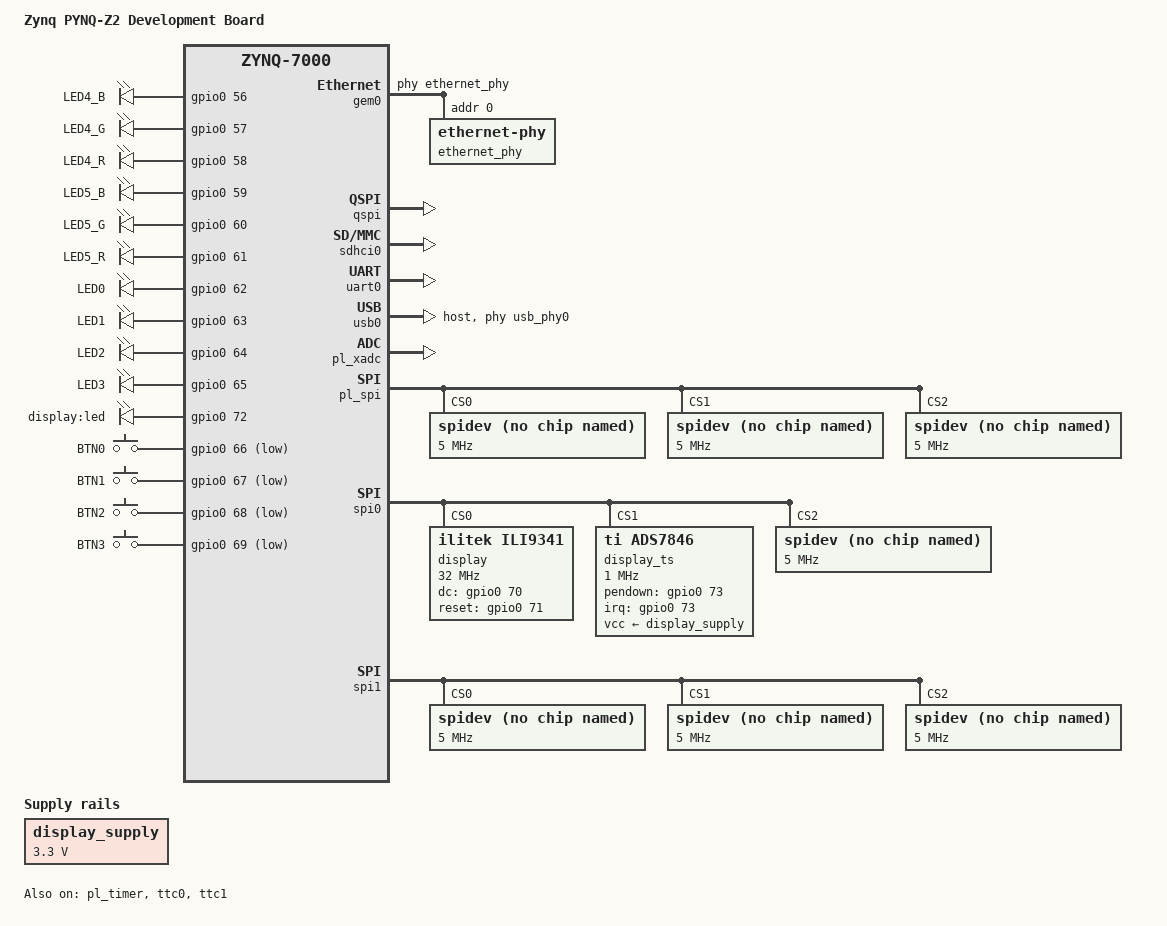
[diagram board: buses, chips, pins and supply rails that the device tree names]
/dts-v1/;

#include "system-top.dts"
#include <dt-bindings/input/input.h>
#include <dt-bindings/gpio/gpio.h>

/ {
	model = "Zynq PYNQ-Z2 Development Board";
	compatible = "digilent,zynq-artyz", "xlnx,zynq-7000";

	chosen {
		bootargs = "earlycon root=/dev/mmcblk0p2 rw rootfstype=ext4 rootwait";
		stdout-path = "serial0:115200n8";
	};

        usb_phy0: phy0 {
                compatible = "ulpi-phy";
                #phy-cells = <0>;
                reg = <0xe0002000 0x1000>;
                view-port = <0x170>;
                drv-vbus;
        };

	gpio-leds {
		compatible = "gpio-leds";
		led4_b {
			label = "LED4_B";
			gpios = <&gpio0 56 GPIO_ACTIVE_HIGH>;
			default-state = "off";
		};
		led4_g {
			label = "LED4_G";
			gpios = <&gpio0 57 GPIO_ACTIVE_HIGH>;
			default-state = "off";
		};
		led4_r {
			label = "LED4_R";
			gpios = <&gpio0 58 GPIO_ACTIVE_HIGH>;
			default-state = "off";
		};
		led5_b {
			label = "LED5_B";
			gpios = <&gpio0 59 GPIO_ACTIVE_HIGH>;
			default-state = "off";
		};
		led5_g {
			label = "LED5_G";
			gpios = <&gpio0 60 GPIO_ACTIVE_HIGH>;
			default-state = "off";
		};
		led5_r {
			label = "LED5_R";
			gpios = <&gpio0 61 GPIO_ACTIVE_HIGH>;
			default-state = "off";
		};
		led0 {
			label = "LED0";
			gpios = <&gpio0 62 GPIO_ACTIVE_HIGH>;
			linux,default-trigger = "heartbeat";
		};
		led1 {
			label = "LED1";
			gpios = <&gpio0 63 GPIO_ACTIVE_HIGH>;
			linux,default-trigger = "mmc0";
		};
		led2 {
			label = "LED2";
			gpios = <&gpio0 64 GPIO_ACTIVE_HIGH>;
			default-state = "off";
		};
		led3 {
			label = "LED3";
			gpios = <&gpio0 65 GPIO_ACTIVE_HIGH>;
			default-state = "off";
		};
		display_led { // LED BACKLIGHT PIN
			label = "display:led";
			gpios = <&gpio0 72 GPIO_ACTIVE_HIGH>;
			default-state = "on";
		};
	};

	gpio-keys {
		compatible = "gpio-keys";
		btn0 {
			label = "BTN0";
			linux,code = <BTN_TRIGGER_HAPPY1>; // Key Code 2c0
			gpios = <&gpio0 66 GPIO_ACTIVE_LOW>;
		};
		btn1 {
			label = "BTN1";
			linux,code = <BTN_TRIGGER_HAPPY2>; // Key Code 2c1
			gpios = <&gpio0 67 GPIO_ACTIVE_LOW>;
		};
		btn2 {
			label = "BTN2";
			linux,code = <BTN_TRIGGER_HAPPY3>; // Key Code 2c2
			gpios = <&gpio0 68 GPIO_ACTIVE_LOW>;
		};
		btn3 {
			label = "BTN3";
			linux,code = <BTN_TRIGGER_HAPPY4>; // Key Code 2c3
			gpios = <&gpio0 69 GPIO_ACTIVE_LOW>;
		};
	};

	display_supply: fixed_3v3@0 {
		compatible = "regulator-fixed";
		regulator-name = "fixed-supply";
		regulator-min-microvolt = <3300000>;
		regulator-max-microvolt = <3300000>;
	};
};

&gem0 {
	u-boot,dm-pre-reloc;
	status = "okay";

	phy-handle = <&ethernet_phy>;

	ethernet_phy: ethernet-phy@0 {
		reg = <0>;
		device_type = "ethernet-phy";
	};
};

&qspi {
	u-boot,dm-pre-reloc;
	status = "okay";
};

&sdhci0 {
	u-boot,dm-pre-reloc;
	status = "okay";
};

&uart0 {
	u-boot,dm-pre-reloc;
	status = "okay";
};

&usb0 {
	status = "okay";
	dr_mode = "host";
        usb-phy = <&usb_phy0>;
};

/* PYNQ-Z2 GPIO Schematic Symbols (see also fpga/sdk/ps7_init.html)
 * Where 'gpioX_NC', means GPIO X is Not Connected.
 */
&gpio0 {
	gpio-line-names =
		"gpio0_NC", "SPI_CS", "SPI_DQ0", "SPI_DQ1",
		"SPI_DQ2", "SPI_DQ3", "SPI_SCK", "VCFG0",
		"SPI_SCLK_FB", "ETH_RST_B", "ETH_INT_B", "OTG_OC",
		"AR_RST", "gpio13_NC", "UART_TXD_IN(rx)", "UART_RXD_OUT(tx)",
		"ETH_TXCK", "ETH_TXD0", "ETH_TXD1", "ETH_TXD2",
		"ETH_TXD3", "ETH_TXCTL", "ETH_RXCK", "ETH_RXD0",
		"ETH_RXD1", "ETH_RXD2", "ETH_RXD3", "ETH_RXCTL",
		"OTG_DATA4", "OTG_DIR", "OTG_STP", "OTG_NXT",
		"OTG_DATA0", "OTG_DATA1", "OTG_DATA2", "OTG_DATA3",
		"OTG_CLK", "OTG_DATA5", "OTG_DATA6", "OTG_DATA7",
		"SD_CCLK", "SD_CMD", "SD_D0", "SD_D1",
		"SD_D2", "SD_D3", "OTG_RESETN", "SD_CD",
		"gpio48_NC", "gpio49_NC", "HDMI_TX_SCL", "HDMI_TX_SDA",
		"ETH_MDC", "ETH_MDIO", "SW0", "SW1",
		"LED4_B", "LED4_G", "LED4_R", "LED5_B",
		"LED5_G", "LED5_R", "LD0", "LD1",
		"LD2", "LD3", "BTN0", "BTN1",
		"BTN2", "BTN3", "PMODA_7", "PMODA_8",
		"PMODB_7", "PMODB_8", "AR6", "AR7",
		"AR8", "AR9", "AR10", "AR11",
		"AR12", "AR13", "A", "RPIO_14_R",
		"RPIO_15_R", "RPIO_18_R", "RPIO_23_R", "RPIO_24_R",
		"RPIO_12_R", "RPIO_16_R", "gpio90_NC", "gpio91_NC",
		"gpio92_NC", "gpio93_NC", "gpio94_NC", "gpio95_NC",
		"gpio96_NC", "gpio97_NC", "gpio98_NC", "gpio99_NC",
		"gpio100_NC", "gpio101_NC", "gpio102_NC", "gpio103_NC",
		"gpio104_NC", "gpio105_NC", "gpio106_NC", "gpio107_NC",
		"gpio108_NC", "gpio109_NC", "gpio110_NC", "gpio111_NC",
		"gpio112_NC", "gpio113_NC", "gpio114_NC", "gpio115_NC",
		"gpio116_NC", "gpio117_NC";
};

&pl_xadc {
	status = "okay";

	xlnx,channels {
		#address-cells = <1>;
		#size-cells = <0>;
		vaux1@2 { /* A0 */
			reg = <2>;
		};
		vaux5@6 { /* A4 */
			reg = <6>;
		};
		vaux6@7 { /* A2 */
			reg = <7>;
		};
		vaux9@10 { /* A1 */
			reg = <10>;
		};
		vaux13@14 { /* A5 */
			reg = <14>;
		};
		vaux15@16 { /* A3 */
			reg = <16>;
		};
	};
};

&pl_timer {
	status = "okay";
};

&pl_spi {
	status = "okay";

	#address-cells = <1>;
	#size-cells = <0>;

	spidev@0 {
		compatible = "spidev";
		reg = <0>;
		spi-max-frequency = <5000000>;
	};
	spidev@1 {
		compatible = "spidev";
		reg = <1>;
		spi-max-frequency = <5000000>;
	};
	spidev@2 {
		compatible = "spidev";
		reg = <2>;
		spi-max-frequency = <5000000>;
	};
};

&spi0 {
	display: ili9341@0{
		compatible = "ilitek,ili9341";
		reg = <0>;
		spi-max-frequency = <32000000>;
		bgr;
		fps = <60>;
		debug = <0>;
		rotate = <90>;
		regwidth = <8>;
		buswidth = <8>;
		dc-gpios = <&gpio0 70 GPIO_ACTIVE_HIGH>;
		reset-gpios = <&gpio0 71 GPIO_ACTIVE_HIGH>;
	};
	display_ts: ads7846@1 {
		compatible = "ti,ads7846";
		reg = <1>;
		spi-max-frequency = <1000000>;
		ti,swap-xy;
		pendown-gpio = <&gpio0 73 0>;
		interrupts = <73 0>;
		interrupt-parent = <&gpio0>;
		vcc-supply = <&display_supply>;
		ti,x-min = /bits/ 16 <0>;
		ti,x-max = /bits/ 16 <8000>;
		ti,y-min = /bits/ 16 <0>;
		ti,y-max = /bits/ 16 <4800>;
		ti,x-plate-ohms = /bits/ 16 <40>;
		ti,pressure-max = /bits/ 16 <255>;
		wakeup-source;
	};
	spidev@2 {
		compatible = "spidev";
		reg = <2>;
		spi-max-frequency = <5000000>;
	};
};

&spi1 {
        spidev@0 {
                compatible = "spidev";
                reg = <0>;
                spi-max-frequency = <5000000>;
        };
        spidev@1 {
                compatible = "spidev";
                reg = <1>;
                spi-max-frequency = <5000000>;
        };
        spidev@2 {
                compatible = "spidev";
                reg = <2>;
                spi-max-frequency = <5000000>;
        };
};

&ttc0 {
	status = "okay";

	clock-frequency = <0x7f28155>;
	xlnx,ttc-clk0-clksrc = <0x0>; /* PWM 0 . AR0 */
	xlnx,ttc-clk0-freq-hz = <0x7f28155>;
	clock-frequency-timer0 = <0x7f28155>;
	xlnx,ttc-clk1-clksrc = <0x0>; /* PWM 1 . AR1 */
	xlnx,ttc-clk1-freq-hz = <0x7f28155>;
	clock-frequency-timer1 = <0x7f28155>;
	xlnx,ttc-clk2-clksrc = <0x0>; /* PWM 2 . AR2 */
	xlnx,ttc-clk2-freq-hz = <0x7f28155>;
	clock-frequency-timer2 = <0x7f28155>;
};

&ttc1 {
	status = "okay";

	clock-frequency = <0x7f28155>;
	xlnx,ttc-clk0-clksrc = <0x0>; /* PWM 3 . AR3 */
	xlnx,ttc-clk0-freq-hz = <0x7f28155>;
	clock-frequency-timer0 = <0x7f28155>;
	xlnx,ttc-clk1-clksrc = <0x0>; /* PWM 4 . AR4 */
	xlnx,ttc-clk1-freq-hz = <0x7f28155>;
	clock-frequency-timer1 = <0x7f28155>;
	xlnx,ttc-clk2-clksrc = <0x0>; /* PWM 5 . AR5 */
	xlnx,ttc-clk2-freq-hz = <0x7f28155>;
	clock-frequency-timer2 = <0x7f28155>;
};

&display {
	status = "okay";
};

&display_ts {
	status = "okay";
};
